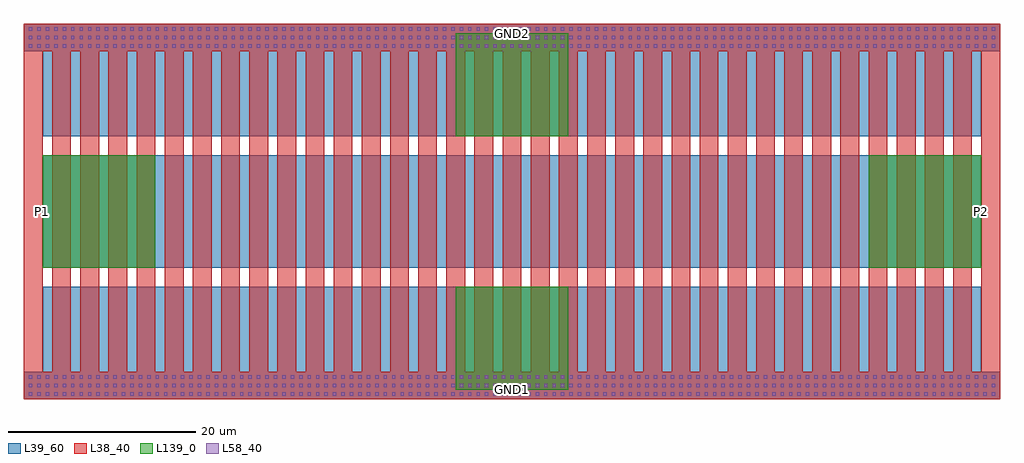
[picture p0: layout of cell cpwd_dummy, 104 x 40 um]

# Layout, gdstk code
import gdstk
lib = gdstk.Library(unit=1e-6, precision=1e-09)
def R(c, l, rs):  # rectangles x0, y0, x1, y1
    for r in rs: c.add(gdstk.rectangle(r[:2], r[2:], *l))
def A(c, l, x, y, w, h, nx, ny, dx, dy):  # array of equal rectangles
    R(c, l, [(x+i*dx, y+j*dy, x+i*dx+w, y+j*dy+h) for i in range(nx) for j in range(ny)])
L38_40 = (38, 40)
L39_60 = (39, 60)
L58_40 = (58, 40)
L139_0 = (139, 0)

cpwd_dummy = lib.new_cell('cpwd_dummy')
A(cpwd_dummy, L38_40, -2, -14, 2, 40, 35, 1, 3, 0)
R(cpwd_dummy, L38_40, [(-2,-14,102,-11.1), (-2,23.1,102,26)])
R(cpwd_dummy, L39_60, [(-2,-14,102,-11.1), (0,-13,100,-2), (0,0,100,12), (0,14,100,25), (-2,23.1,102,26)])
A(cpwd_dummy, L58_40, -1.48, -13.63, 0.36, 0.36, 115, 3, 0.9, 0.9)
A(cpwd_dummy, L58_40, -1.48, 23.47, 0.36, 0.36, 115, 3, 0.9, 0.9)
R(cpwd_dummy, L139_0, [(44,-13,56,-2), (0,0,12,12), (88,0,100,12), (44,14,56,25)])
cpwd_dummy.add(gdstk.Label('GND1', (50,-13), layer=139, texttype=0))
cpwd_dummy.add(gdstk.Label('GND2', (50,25), layer=139, texttype=0))
cpwd_dummy.add(gdstk.Label('P1', (0,6), layer=139, texttype=0))
cpwd_dummy.add(gdstk.Label('P2', (100,6), layer=139, texttype=0))

lib.write_gds('cpwd_dummy.gds')
